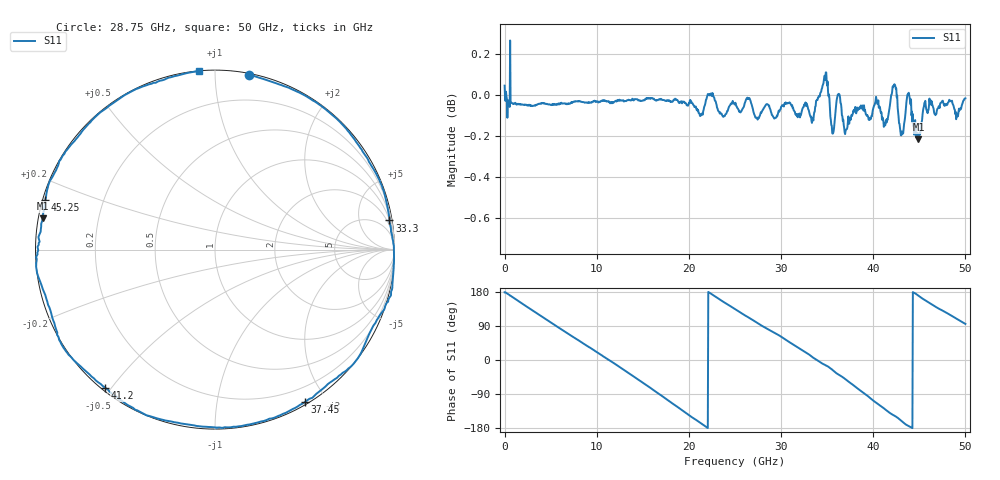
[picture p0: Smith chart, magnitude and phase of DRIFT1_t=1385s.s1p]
!Created with skrf (http://scikit-rf.org).
# Hz S RI R 50.0
!freq ReS11 ImS11
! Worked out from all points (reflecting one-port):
!   1001 points, 300 kHz to 50 GHz, reference 50 ohm
!   lowest |S11| = -0.2 dB at 44.9 GHz (marker M1), VSWR 80.20, Z = 0.628 + j4.48 ohm
!   phase of S11 starts at 179 deg and turns -803 deg over the sweep
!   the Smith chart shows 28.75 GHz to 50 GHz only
!   S11 on the Smith chart (normalised r, x): 28.75 GHz: 0.01, +1.21; 33.3 GHz: 1, +12; 37.45 GHz: 0.03, -1.75; 41.2 GHz: 0.01, -0.48; 45.25 GHz: 0.01, +0.14; 50 GHz: 0.00, +0.91
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300000  -1.005 0.0228
1.70029e9  -0.8803 0.4634
3.550279e9  -0.529 0.8421
6.250262e9  0.1829 0.9782
7.900253e9  0.5897 0.8032
9.750242e9  0.9037 0.4205
1.250022e10  0.9425 -0.3241
1.400022e10  0.7271 -0.6819
1.58502e10  0.274 -0.9596
1.72502e10  -0.1394 -0.9872
1.875019e10  -0.5528 -0.8298
2.025018e10  -0.8608 -0.5016
2.195017e10  -0.9979 -0.038
2.500015e10  -0.6934 0.7134
2.670014e10  -0.3212 0.9432
2.875013e10  0.1903 0.9744
3.125011e10  0.7387 0.6631
3.33001e10  0.972 0.1622
3.505009e10  0.9648 -0.29
3.745008e10  0.5008 -0.8501
3.750008e10  0.4877 -0.8582
3.925006e10  -0.0361 -0.9882
4.120005e10  -0.6127 -0.7697
4.375004e10  -0.9932 -0.1191
4.490003e10  -0.9598 0.1735
4.525003e10  -0.9448 0.2777
4.740002e10  -0.6638 0.7422
5e10  -0.0913 0.9938
